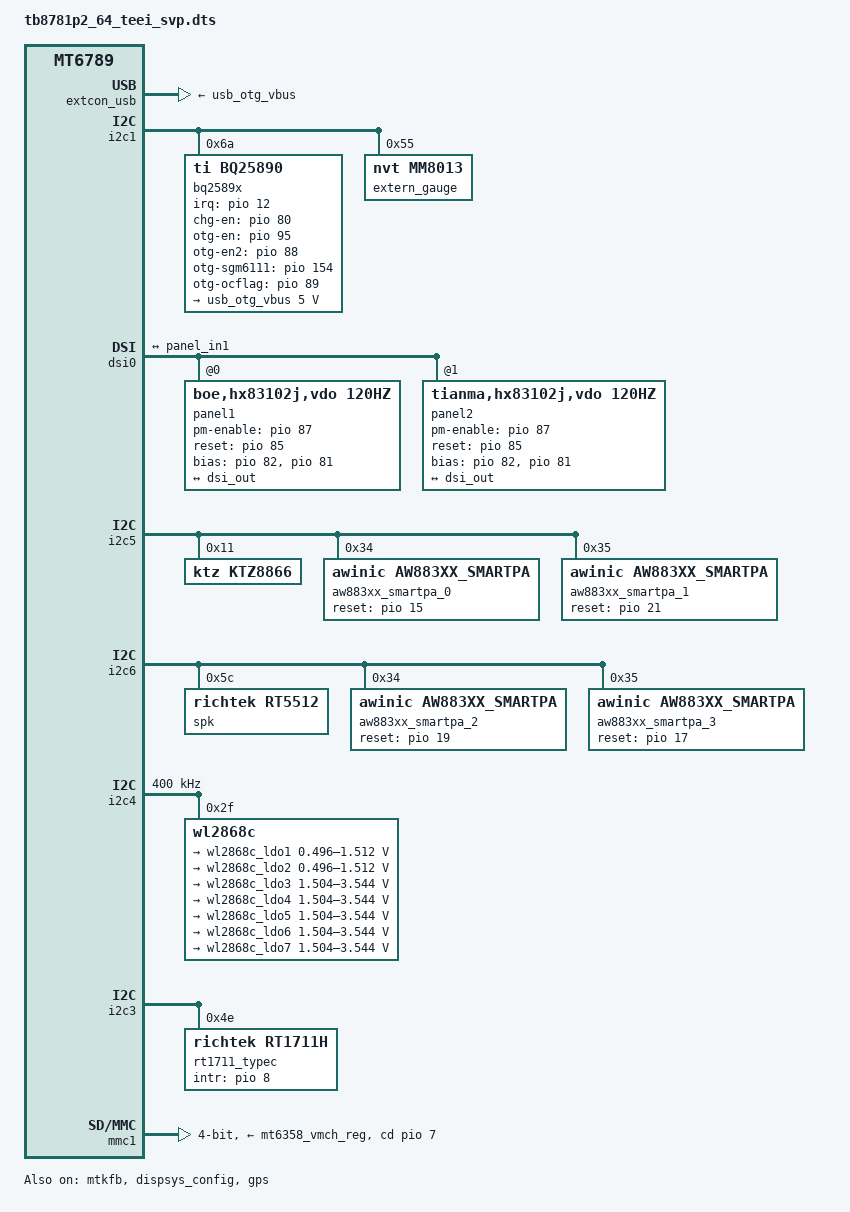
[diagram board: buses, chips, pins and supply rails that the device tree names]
// SPDX-License-Identifier: (GPL-2.0 OR MIT)
/*
 * Copyright (C) 2021 MediaTek Inc.
 */
/dts-v1/;
/plugin/;
#include <dt-bindings/interrupt-controller/arm-gic.h>
#include <dt-bindings/interrupt-controller/irq.h>
#include <dt-bindings/pinctrl/mt6789-pinfunc.h>
#include "mediatek/cust_tb8781p2_camera.dtsi"

&chosen {

};

&android {
	hardware = "mt8781";
};

&utos {
	microtrust,real-drv = <1>;
};

&mtk_leds {
	compatible = "mediatek,disp-leds";

	backlight {
		led_mode = <4>;
		pwm_config = <0 1 0 0 0>;
	};
};

&pio {
	mtkfb_pins_lcm_led_en1: lcm_led_en1_gpio {
		pins_cmd_dat {
			pinmux = <PINMUX_GPIO12__FUNC_GPIO12>;
			slew-rate = <1>;
			output-high;
		};
	};

	mtkfb_pins_lcm_led_en0: lcm_led_en0_gpio {
		pins_cmd_dat {
			pinmux = <PINMUX_GPIO12__FUNC_GPIO12>;
			slew-rate = <1>;
			output-low;
		};
	};

	mtkfb_pins_lcm_rst_out1_gpio: lcm_rst_out1_gpio {
		pins_cmd_dat {
			pinmux = <PINMUX_GPIO85__FUNC_GPIO85>;
			slew-rate = <1>;
			output-high;
		};
	};

	mtkfb_pins_lcm_rst_out0_gpio: lcm_rst_out0_gpio {
		pins_cmd_dat {
			pinmux = <PINMUX_GPIO85__FUNC_GPIO85>;
			slew-rate = <1>;
			output-low;
		};
	};
	mtkfb_pins_lcm_dsi_te: lcm_dsi_te {
		pins_cmd_dat {
			pinmux = <PINMUX_GPIO83__FUNC_DSI_TE>;
		};
	};

	i2c1_pin: i2c1_pin {
		pins_cmd0_dat {
			pinmux = <PINMUX_GPIO132__FUNC_SCL1>;
			bias-pull-up;
		};
		pins_cmd1_dat {
			pinmux = <PINMUX_GPIO133__FUNC_SDA1>;
			bias-pull-up;
		};
	};

	bq2589x_int: bq2589x_int_pin {
		pins_cmd0_dat {
			pinmux = <PINMUX_GPIO12__FUNC_GPIO12>;
			bias-pull-up;
			input-enable;
		};
	};
};

&charger {
	charger = <&bq2589x>;
	gauge = <&extern_gauge>;
	battery_cv = <4400000>;
};

&extcon_usb {
	vbus-supply = <&usb_otg_vbus>;
	vbus-voltage;
	vbus-current;
	charger = <&bq2589x>;
};

&i2c1 {
	status = "okay";
	pinctrl-names = "default", "default";
	pinctrl-0 = <&i2c1_pin>;
	pinctrl-1 = <&bq2589x_int>;

	bq2589x: bq2589x@6A {
		status = "okay";
		compatible = "ti,bq25890";
		reg = <0x6A>;
		charger_name = "primary_chg";
		interrupt-parent = <&pio>;
		interrupts = <12 IRQ_TYPE_EDGE_FALLING>;
		ti,irq-gpios = <&pio 12 0>;
		ti,chg-en-gpio = <&pio 80 0>;
		ti,otg-en-gpio = <&pio 95 0>;
		ti,otg-en2-gpio = <&pio 88 0>;
		ti,otg-sgm6111-gpio = <&pio 154 0>;
		ti,otg-ocflag-gpio = <&pio 89 0>;
		ti,bq2589x,charge-detect-enable;
		interrupt-names = "chr_stat";
		usb_otg_vbus: usb-otg-vbus {
			regulator-compatible = "usb-otg-vbus";
			regulator-name = "usb-otg-vbus";
			regulator-min-microvolt = <5000000>;
			regulator-max-microvolt = <5000000>;
		};
	};

	extern_gauge: extern_gauge@55 {
		compatible = "nvt,mm8013";
		reg = <0x55>;
		charger = <&bq2589x>;
	};
};

&mtk_gauge {
	status = "disable";
	DISABLE_MTKBATTERY;
	charger = <&bq2589x>;
	gauge = <&extern_gauge>;
};

&mtk_ctd {
	bc12 = <&bq2589x>;
	bc12_sel = <0>;
};

&mtkfb {
	pinctrl-names = "lcm_led_en1_gpio", "lcm_led_en0_gpio",
		"lcm_rst_out1_gpio", "lcm_rst_out0_gpio",
		"mode_te_te";
	pinctrl-0 = <&mtkfb_pins_lcm_led_en1>;
	pinctrl-1 = <&mtkfb_pins_lcm_led_en0>;
	pinctrl-2 = <&mtkfb_pins_lcm_rst_out1_gpio>;
	pinctrl-3 = <&mtkfb_pins_lcm_rst_out0_gpio>;
	pinctrl-4 = <&mtkfb_pins_lcm_dsi_te>;
	status = "okay";
};

&dispsys_config {
	pinctrl-names =
		"lcm_rst_out1_gpio", "lcm_rst_out0_gpio",
		"mode_te_te";
	pinctrl-0 = <&mtkfb_pins_lcm_rst_out1_gpio>;
	pinctrl-1 = <&mtkfb_pins_lcm_rst_out0_gpio>;
	pinctrl-2 = <&mtkfb_pins_lcm_dsi_te>;
	status = "okay";
};

&dsi0 {
	status = "okay";
	#address-cells = <1>;
	#size-cells = <0>;
	panel1@0 {
		compatible = "boe,hx83102j,vdo,120hz";
		reg = <0>;
		pm-enable-gpios = <&pio 87 0>;
		reset-gpios = <&pio 85 0>;
		bias-gpios = <&pio 82 0>,
			<&pio 81 0>;
		pinctrl-names = "default";
		port {
			panel_in1: endpoint {
				remote-endpoint = <&dsi_out>;
			};
		};
	};
	panel2@0 {
		compatible = "tianma,hx83102j,vdo,120hz";
		reg = <1>;
		pm-enable-gpios = <&pio 87 0>;
		reset-gpios = <&pio 85 0>;
		bias-gpios = <&pio 82 0>,
			<&pio 81 0>;
		pinctrl-names = "default";
		port {
			panel_in2: endpoint {
				remote-endpoint = <&dsi_out>;
			};
		};
	};
	ports {
		port {
			dsi_out: endpoint {
				remote-endpoint = <&panel_in1>;
			};
		};
	};
};

/* GPS GPIO standardization start */
&pio {
	gps_pins_default: gps_default {
	};
	gps_l1_lna_pins_ol: gps_l1_lna@0 {
		pins_cmd_dat {
			pinmux = <PINMUX_GPIO25__FUNC_GPIO25>;
			output-low;
		};
	};
	gps_l1_lna_pins_dsp_ctrl: gps_l1_lna@1 {
		pins_cmd_dat {
			pinmux = <PINMUX_GPIO25__FUNC_GPS_L1_ELNA_EN>;
		};
	};
	gps_l1_lna_pins_oh: gps_l1_lna@2 {
		pins_cmd_dat {
			pinmux = <PINMUX_GPIO25__FUNC_GPIO25>;
			output-high;
		};
	};
	gps_l5_lna_pins_ol: gps_l5_lna@0 {
		pins_cmd_dat {
			pinmux = <PINMUX_GPIO26__FUNC_GPIO26>;
			output-low;
		};
	};
	gps_l5_lna_pins_dsp_ctrl: gps_l5_lna@1 {
		pins_cmd_dat {
			pinmux = <PINMUX_GPIO26__FUNC_GPS_L5_ELNA_EN>;
		};
	};
	gps_l5_lna_pins_oh: gps_l5_lna@2 {
		pins_cmd_dat {
			pinmux = <PINMUX_GPIO26__FUNC_GPIO26>;
			output-high;
		};
	};
};
&gps {
	pinctrl-names = "default",
		"gps_l1_lna_disable",
		"gps_l1_lna_dsp_ctrl",
		"gps_l1_lna_enable",
		"gps_l5_lna_disable",
		"gps_l5_lna_dsp_ctrl",
		"gps_l5_lna_enable";
	pinctrl-0 = <&gps_pins_default>;
	pinctrl-1 = <&gps_l1_lna_pins_ol>;
	pinctrl-2 = <&gps_l1_lna_pins_dsp_ctrl>;
	pinctrl-3 = <&gps_l1_lna_pins_oh>;
	pinctrl-4 = <&gps_l5_lna_pins_ol>;
	pinctrl-5 = <&gps_l5_lna_pins_dsp_ctrl>;
	pinctrl-6 = <&gps_l5_lna_pins_oh>;
	status = "okay";
};
/* GPS GPIO standardization end */

#include "mediatek/cust_mt6789_touch_1200x2000.dtsi"
#include "mediatek/cust_tb8781p2_camera_v4l2.dtsi"

&mt6375 {
	status = "disabled";
};

&afe {
	pinctrl-names = "aud_clk_mosi_off",
			"aud_clk_mosi_on",
			"aud_clk_miso_off",
			"aud_clk_miso_on",
			"aud_dat_mosi_off",
			"aud_dat_mosi_on",
			"aud_dat_miso0_off",
			"aud_dat_miso0_on",
			"aud_dat_miso1_off",
			"aud_dat_miso1_on",
			"aud_gpio_i2s2_off",
			"aud_gpio_i2s2_on",
			"aud_gpio_i2s1_off",
			"aud_gpio_i2s1_on",
			"vow_dat_miso_off",
			"vow_dat_miso_on",
			"vow_clk_miso_off",
			"vow_clk_miso_on";

	pinctrl-10 = <&aud_gpio_i2s2_off>;
	pinctrl-11 = <&aud_gpio_i2s2_on>;
	pinctrl-12 = <&aud_gpio_i2s1_off>;
	pinctrl-13 = <&aud_gpio_i2s1_on>;
};

&pio {
	aud_gpio_i2s2_off: aud_gpio_i2s2_off {
		pins_cmd1_dat {
			pinmux = <PINMUX_GPIO53__FUNC_GPIO53>;
			input-enable;
			bias-pull-down;
		};
	};
	aud_gpio_i2s2_on: aud_gpio_i2s2_on {
		pins_cmd1_dat {
			pinmux = <PINMUX_GPIO53__FUNC_I2S2_DI>;
			input-schmitt-enable;
			bias-disable;
		};
	};
	aud_gpio_i2s1_off: aud_gpio_i2s1_off {
		pins_cmd1_dat {
			pinmux = <PINMUX_GPIO50__FUNC_GPIO50>;
			input-enable;
			bias-pull-down;
		};
		pins_cmd2_dat {
			pinmux = <PINMUX_GPIO51__FUNC_GPIO51>;
			input-enable;
			bias-pull-down;
		};
		pins_cmd3_dat {
			pinmux = <PINMUX_GPIO52__FUNC_GPIO52>;
			input-enable;
			bias-pull-down;
		};
	};
	aud_gpio_i2s1_on: aud_gpio_i2s1_on {
		pins_cmd1_dat {
			pinmux = <PINMUX_GPIO50__FUNC_I2S1_DO>;
			input-schmitt-enable;
			bias-disable;
		};
		pins_cmd2_dat {
			pinmux = <PINMUX_GPIO51__FUNC_I2S1_BCK>;
			input-schmitt-enable;
			bias-disable;
		};
		pins_cmd3_dat {
			pinmux = <PINMUX_GPIO52__FUNC_I2S1_LRCK>;
			input-schmitt-enable;
			bias-disable;
		};
	};
};

&i2c5 {
	ktz8866@11 {
		compatible = "ktz,ktz8866";
		reg = <0x11>;
		id = <5>;
		status = "okay";
		};
	aw883xx_smartpa_0: aw883xx_smartpa@34 {
		compatible = "awinic,aw883xx_smartpa";
		#sound-dai-cells = <0>;
		reg = <0x34>;
		reset-gpio = <&pio 15 0>;
		sound-channel = <0>;
		spin_data = "L L R R";
		re-min = <1000>;
		re-max= <40000>;
		status = "okay";
	};
	aw883xx_smartpa_1: aw883xx_smartpa@35 {
		compatible = "awinic,aw883xx_smartpa";
		#sound-dai-cells = <0>;
		reg = <0x35>;
		reset-gpio = <&pio 21 0>;
		sound-channel = <1>;
		spin_data = "R R L L";
		re-min = <1000>;
		re-max= <40000>;
		status = "okay";
	};
};

&i2c6 {
	spk: speaker_amp@5c {
		compatible = "richtek,rt5512";
		#sound-dai-cells = <0>;
		reg = <0x5c>;
		status = "okay";
		sound-name-prefix = "Left";
	};
	aw883xx_smartpa_2: aw883xx_smartpa@34 {
		compatible = "awinic,aw883xx_smartpa";
		#sound-dai-cells = <0>;
		reg = <0x34>;
		reset-gpio = <&pio 19 0>;
		sound-channel = <2>;
		spin_data = "L R R L";
		re-min = <1000>;
		re-max= <40000>;
		status = "okay";
	};
	aw883xx_smartpa_3: aw883xx_smartpa@35 {
		compatible = "awinic,aw883xx_smartpa";
		#sound-dai-cells = <0>;
		reg = <0x35>;
		reset-gpio = <&pio 17 0>;
		sound-channel = <3>;
		spin_data = "R L L R";
		re-min = <1000>;
		re-max= <40000>;
		status = "okay";
	};
};

/*camera LDO*/
&i2c4 {
	#address-cells = <1>;
	#size-cells = <0>;
	clock-frequency = <400000>;
	wl2868c: wl2868c@2f {
		status = "ok";
		compatible = "wl2868c";
		reg = <0x2f>;
		regulators {
			wl2868c_ldo1: wl2868c_ldo1 {
				regulator-name = "wl2868c-ldo1";
				regulator-min-microvolt = <496000>;
				regulator-max-microvolt = <1512000>;
			};
			wl2868c_ldo2: wl2868c_ldo2 {
				regulator-name = "wl2868c-ldo2";
				regulator-min-microvolt = <496000>;
				regulator-max-microvolt = <1512000>;
			};
			wl2868c_ldo3: wl2868c_ldo3 {
				regulator-name = "wl2868c-ldo3";
				regulator-min-microvolt = <1504000>;
				regulator-max-microvolt = <3544000>;
			};
			wl2868c_ldo4: wl2868c_ldo4 {
				regulator-name = "wl2868c-ldo4";
				regulator-min-microvolt = <1504000>;
				regulator-max-microvolt = <3544000>;
			};
			wl2868c_ldo5: wl2868c_ldo5 {
				regulator-name = "wl2868c-ldo5";
				regulator-min-microvolt = <1504000>;
				regulator-max-microvolt = <3544000>;
			};
			wl2868c_ldo6: wl2868c_ldo6 {
				regulator-name = "wl2868c-ldo6";
				regulator-min-microvolt = <1504000>;
				regulator-max-microvolt = <3544000>;
			};
			wl2868c_ldo7: wl2868c_ldo7 {
				regulator-name = "wl2868c-ldo7";
				regulator-min-microvolt = <1504000>;
				regulator-max-microvolt = <3544000>;
			};
		};
	};
 };
/*end camera LDO*/
&sound {
	mediatek,spk-i2s = <1 2>;
	mediatek,speaker-codec {
		sound-dai = <&aw883xx_smartpa_0 &aw883xx_smartpa_1 &aw883xx_smartpa_2 &aw883xx_smartpa_3>;
	};
};

&pdc {
	pd_vbus_upper_bound = <12000000>;
};

&pio {
	i2c3_pin: i2c3_pin {
		pins_cmd0_dat {
			pinmux = <PINMUX_GPIO136__FUNC_SCL3>;
			bias-pull-up;
		};
		pins_cmd1_dat {
			pinmux = <PINMUX_GPIO137__FUNC_SDA3>;
			bias-pull-up;
		};
	};

	rt1711_int: rt1711_int_pin {
		pins_cmd0_dat {
			pinmux = <PINMUX_GPIO8__FUNC_GPIO8>;
			bias-pull-up;
			input-enable;
		};
	};
};

&i2c3 {
	pinctrl-names = "default", "default";
	pinctrl-0 = <&i2c3_pin>;
	pinctrl-1 = <&rt1711_int>;

	rt1711_typec: rt1711h@4e {
		compatible = "richtek,rt1711h";
		reg = <0x4e>;
		status = "okay";
		rt-tcpc,name = "type_c_port0"; /* tcpc_device's name */
		rt-tcpc,role_def = <5>; /* 0: Unknown, 1: SNK, 2: SRC */
					/* 3: DRP, 4: Try.SRC, 5: Try.SNK */
		rt-tcpc,rp_level = <0>; /* 0: Default, 1: 1.5, 2: 3.0 */
		rt-tcpc,vconn_supply = <1>;  /* 0: Never, 1: Always, */
					     /* 2: EMarkOnly, 3: StartOnly */
		rt1711pd,intr_gpio = <&pio 8 0x0>;
		rt1711pd,intr_gpio_num = <8>;
		charger = <&bq2589x>;
		pd-data {
			pd,vid = <0x29cf>;
			pd,pid = <0x1711>;
			pd,source-cap-ext = /bits/ 8 <0xcf 0x29 0x11 0x17
						      0x00 0x00 0x00 0x00
						      0x00 0x00 0x00 0x00
						      0x00 0x00 0x00 0x00
						      0x00 0x00 0x00 0x00
						      0x00 0x00 0x01 0x02
						      0x00>;
			pd,sink-cap-ext = /bits/ 8 <0xcf 0x29 0x11 0x17
						    0x00 0x00 0x00 0x00
						    0x00 0x00 0x01 0x00
						    0x00 0x00 0x00 0x00
						    0x01 0x0b 0x01 0x0a
						    0x0a 0x00 0x00 0x00>;
			pd,mfrs = "RichtekTCPC";

			/*
			 *	VSAFE5V = 0, MAX_POWER = 1, CUSTOM = 2,
			 *	MAX_POWER_LV = 0x21, MAX_POWER_LVIC = 0x31
			 *	MAX_POWER_HV = 0x41, MAX_POWER_HVIC = 0x51
			 */
			pd,charging_policy = <0x31>;

			/*
			 * Fixed 5V, 500 mA <0x00019032>
			 * Fixed 5V, 1A <0x00019064>
			 * Fixed 5V, 2A <0x000190c8>
			 * Fixed 5V, 3A <0x0001912c>
			 * Fixed 9V, 500 mA <0x0002d032>
			 * Fixed 9V, 1A <0x0002d064>
			 * Fixed 9V, 2A <0x0002d0c8>
			 * Fixed 9V, 3A <0x0002d12c>
			 * Variable 5-9V, 1A <0x8642d064>
			 * Variable 5-9V, 2A <0x8642d0c8>
			 * Variable 5-9V, 3A <0x8642d12c>
			 */
			pd,source-pdo-size = <1>;
			pd,source-pdo-data = <0x00019032>;
			pd,sink-pdo-size = <1>;
			pd,sink-pdo-data = <0x000190c8>;

			/*
			 * No DP, host + device
			 *	pd,id-vdo-size = <6>;
			 *	pd,id-vdo-data = <0xd14029cf 0x0 0x17110000
						  0x61000000 0x0 0x41000000>;
			 * With DP
			 *	pd,id-vdo-size = <6>;
			 *	pd,id-vdo-data = <0xd54029cf 0x0 0x17110000
						  0x61000000 0x0 0x41000000>;
			 */

			pd,id-vdo-size = <6>;
			pd,id-vdo-data = <0xd14029cf 0x0 0x17110000
					  0x61000000 0x0 0x41000000>;

			bat,nr = <1>;
			pd,country_nr = <0>;

			bat-info0 {
				bat,vid = <0x29cf>;
				bat,pid = <0x1711>;
				bat,mfrs = "bat1";
				bat,design_cap = <3000>;
			};
		};
		dpm_caps {
			local_dr_power;
			local_dr_data;
			// local_ext_power;
			local_usb_comm;
			// local_usb_suspend;
			// local_high_cap;
			// local_give_back;
			local_no_suspend;

			attempt_enter_dp_mode;
			// attempt_discover_cable;
			// attempt_discover_id;
			// attempt_discover_svid;

			/* 0: disable, 1: prefer_snk, 2: prefer_src */
			pr_check = <0>;
			// pr_reject_as_source;
			// pr_reject_as_sink;
			// pr_check_gp_source;
			// pr_check_gp_sink;

			/* 0: disable, 1: prefer_ufp, 2: prefer_dfp */
			dr_check = <0>;
			// dr_reject_as_dfp;
			// dr_reject_as_ufp;
		};
		displayport {
			/* connection type = "both", "ufp_d", "dfp_d" */
			1st_connection = "dfp_d";
			2nd_connection = "dfp_d";
			signal,dp_v13;
			// signal,dp_gen2;
			// usbr20_not_used;
			typec,receptacle;
			ufp_d {
				// pin_assignment,mode_c;
				// pin_assignment,mode_d;
				// pin_assignment,mode_e;
			};
			dfp_d {
				pin_assignment,mode_c;
				pin_assignment,mode_d;
				pin_assignment,mode_e;
			};
		};
	};
};

#include <tb8781p2_64/cust.dtsi>
#include <dt-bindings/gpio/gpio.h>
&mmc1 {
	host-index = <1>;
	status = "okay";
	compatible = "mediatek,mt6779-mmc";
	pinctrl-names = "default", "state_uhs";
	pinctrl-0 = <&mmc1_pins_default>;
	pinctrl-1 = <&mmc1_pins_uhs>;
	bus-width = <4>;
	max-frequency = <200000000>;
	ocr-voltage = <0x00030000>;
	cap-sd-highspeed;
	sd-uhs-sdr12;
	sd-uhs-sdr25;
	sd-uhs-sdr50;
	sd-uhs-sdr104;
	sd-uhs-ddr50;
	cd-debounce-delay-ms = <0>;
	cd-gpios = <&pio 7 GPIO_ACTIVE_HIGH>;
	vmmc-supply = <&mt6358_vmch_reg>;
	vqmmc-supply = <&mt6358_vmc_reg>;
	no-mmc;
	no-sdio;
	dvfsrc-vcore-supply = <&dvfsrc_vcore>;
	req-vcore = <650000>;
};

&pio {
	mmc1_pins_default: mmc1default {
		pins_cmd_dat {
			pinmux = <PINMUX_GPIO73__FUNC_MSDC1_DAT0>,
				<PINMUX_GPIO74__FUNC_MSDC1_DAT1>,
				<PINMUX_GPIO75__FUNC_MSDC1_DAT2>,
				<PINMUX_GPIO76__FUNC_MSDC1_DAT3>,
				<PINMUX_GPIO72__FUNC_MSDC1_CMD>;
			input-enable;
			drive-strength = <3>;
			bias-pull-up = <MTK_PUPD_SET_R1R0_01>;
		};

		pins_clk {
			pinmux = <PINMUX_GPIO71__FUNC_MSDC1_CLK>;
			drive-strength = <3>;
			bias-pull-down = <MTK_PUPD_SET_R1R0_10>;
		};
	};
	mmc1_pins_uhs: mmc1@0{
		pins_cmd_dat {
			pinmux = <PINMUX_GPIO73__FUNC_MSDC1_DAT0>,
				<PINMUX_GPIO74__FUNC_MSDC1_DAT1>,
				<PINMUX_GPIO75__FUNC_MSDC1_DAT2>,
				<PINMUX_GPIO76__FUNC_MSDC1_DAT3>,
				<PINMUX_GPIO72__FUNC_MSDC1_CMD>;
			input-enable;
			drive-strength = <3>;
			bias-pull-up = <MTK_PUPD_SET_R1R0_01>;
		};

		pins_clk {
			pinmux = <PINMUX_GPIO71__FUNC_MSDC1_CLK>;
			drive-strength = <3>;
			bias-pull-down = <MTK_PUPD_SET_R1R0_10>;
		};
	};
};

/*svp start*/
&mtee_svp {
	mtee: MTEE {
		compatible = "mediatek,mtk_svp_on_mtee_support";
	};

	svp: SecureVideoPath {
		compatible = "mediatek,mtk_sec_video_path_support";
	};
};
/*svp end*/
/*End of this file, DO NOT ADD ANYTHING HERE*/
